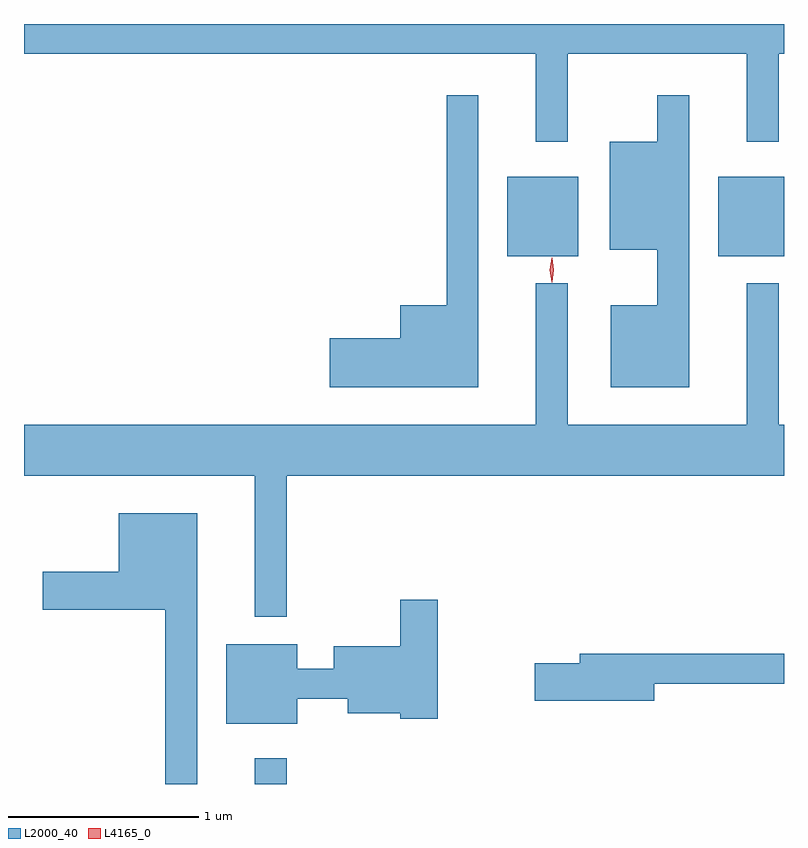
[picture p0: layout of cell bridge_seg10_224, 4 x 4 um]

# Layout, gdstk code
import gdstk
lib = gdstk.Library(unit=1e-6, precision=1e-09)
def R(c, l, rs):  # rectangles x0, y0, x1, y1
    for r in rs: c.add(gdstk.rectangle(r[:2], r[2:], *l))
def P(c, l, *ps):  # polygons
    for p in ps: c.add(gdstk.Polygon(p, *l))
L2000_40 = (2000, 40)
L4165_0 = (4165, 0)

bridge_seg10_224 = lib.new_cell('bridge_seg10_224')
R(bridge_seg10_224, L2000_40, [(1795.171,2098.973,1795.339,2099.108), (1796.501,2101.751,1796.874,2102.169), (1797.611,2101.751,1797.957,2102.169)])
P(bridge_seg10_224, L2000_40, [(1796.819,2102.816),(1797.761,2102.816),(1797.761,2102.353),(1797.929,2102.353),(1797.929,2102.816),(1797.957,2102.816),(1797.957,2102.973),(1793.957,2102.973),(1793.957,2102.816),(1796.651,2102.816),(1796.651,2102.353),(1796.819,2102.353)],
  [(1797.459,2102.598),(1797.291,2102.598),(1797.291,2102.354),(1797.041,2102.354),(1797.041,2101.786),(1797.291,2101.786),(1797.291,2101.494),(1797.046,2101.494),(1797.046,2101.061),(1797.459,2101.061)],
  [(1796.349,2102.598),(1796.181,2102.598),(1796.181,2101.494),(1795.936,2101.494),(1795.936,2101.319),(1795.566,2101.319),(1795.566,2101.061),(1796.349,2101.061)],
  [(1795.339,2100.596),(1797.957,2100.596),(1797.957,2100.864),(1797.929,2100.864),(1797.929,2101.608),(1797.761,2101.608),(1797.761,2100.864),(1796.819,2100.864),(1796.819,2101.608),(1796.651,2101.608),(1796.651,2100.864),(1793.957,2100.864),(1793.957,2100.596),(1795.171,2100.596),(1795.171,2099.853),(1795.339,2099.853)],
  [(1794.869,2100.399),(1794.456,2100.399),(1794.456,2100.089),(1794.056,2100.089),(1794.056,2099.891),(1794.701,2099.891),(1794.701,2098.973),(1794.869,2098.973)],
  [(1795.394,2099.421),(1795.661,2099.421),(1795.661,2099.346),(1795.936,2099.346),(1795.936,2099.316),(1796.134,2099.316),(1796.134,2099.944),(1795.936,2099.944),(1795.936,2099.699),(1795.586,2099.699),(1795.586,2099.579),(1795.394,2099.579),(1795.394,2099.709),(1795.021,2099.709),(1795.021,2099.291),(1795.394,2099.291)],
  [(1797.274,2099.501),(1797.957,2099.501),(1797.957,2099.659),(1796.881,2099.659),(1796.881,2099.609),(1796.646,2099.609),(1796.646,2099.411),(1797.274,2099.411)])
P(bridge_seg10_224, L4165_0, [(1796.735,2101.613),(1796.735,2101.613),(1796.725,2101.678),(1796.735,2101.742),(1796.735,2101.742),(1796.736,2101.742),(1796.745,2101.678),(1796.736,2101.613)])

lib.write_gds('bridge_seg10_224.gds')
